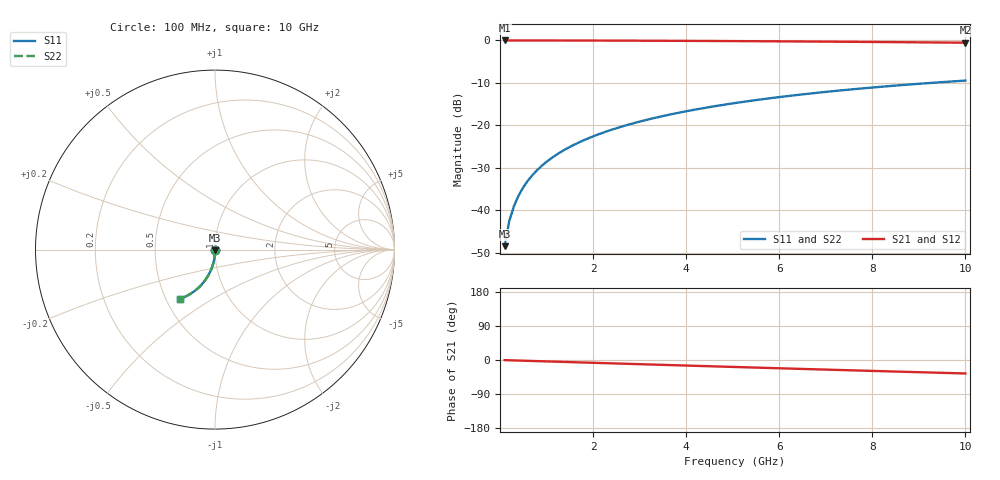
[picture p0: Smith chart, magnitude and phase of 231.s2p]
# Hz S RI R 50.00
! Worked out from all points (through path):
!   100 points, 100 MHz to 10 GHz, reference 50 ohm
!   highest |S21| = -0.01 dB at 100 MHz (marker M1); lowest = -0.5 dB at 10 GHz (marker M2)
!   group delay of S21, straight-line fit = 9.9 ps
!   lowest |S11| = -48.4 dB at 100 MHz (marker M3), VSWR 1.01, Z = 50.1 - j0.373 ohm
!   |S11| at or under -10 dB: start of sweep to 9.266 GHz
!   |S22| runs from -48.4 to -9.5 dB; largest |S21 - S12| = 0
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1e8  0.00065 -0.00373  0.9993 -0.00642  0.9993 -0.00642  0.00065 -0.00373
2e8  0.000578 -0.00745  0.9992 -0.0128  0.9992 -0.0128  0.000578 -0.00745
3e8  0.000456 -0.0112  0.999 -0.0193  0.999 -0.0193  0.000456 -0.0112
4e8  0.000287 -0.0149  0.9988 -0.0257  0.9988 -0.0257  0.000287 -0.0149
5e8  6.93e-05 -0.0186  0.9986 -0.0321  0.9986 -0.0321  6.93e-05 -0.0186
6e8  -0.000196 -0.0223  0.9983 -0.0385  0.9983 -0.0385  -0.000196 -0.0223
7e8  -0.00051 -0.026  0.9979 -0.0449  0.9979 -0.0449  -0.00051 -0.026
8e8  -0.000871 -0.0297  0.9975 -0.0513  0.9975 -0.0513  -0.000871 -0.0297
9e8  -0.00128 -0.0335  0.997 -0.0577  0.997 -0.0577  -0.00128 -0.0335
1.1e9  -0.00224 -0.0408  0.9959 -0.0705  0.9959 -0.0705  -0.00224 -0.0408
1.4e9  -0.00403 -0.0519  0.9938 -0.0896  0.9938 -0.0896  -0.00403 -0.0519
1.8e9  -0.00708 -0.0664  0.9903 -0.115  0.9903 -0.115  -0.00708 -0.0664
2.1e9  -0.00985 -0.0772  0.9871 -0.1338  0.9871 -0.1338  -0.00985 -0.0772
2.5e9  -0.0142 -0.0914  0.9821 -0.1588  0.9821 -0.1588  -0.0142 -0.0914
2.9e9  -0.0192 -0.1053  0.9763 -0.1836  0.9763 -0.1836  -0.0192 -0.1053
3.4e9  -0.0265 -0.1222  0.9679 -0.214  0.9679 -0.214  -0.0265 -0.1222
4.2e9  -0.0402 -0.1482  0.9519 -0.2617  0.9519 -0.2617  -0.0402 -0.1482
5.1e9  -0.0585 -0.1753  0.9304 -0.3132  0.9304 -0.3132  -0.0585 -0.1753
5.9e9  -0.077 -0.1974  0.9086 -0.3571  0.9086 -0.3571  -0.077 -0.1974
6.7e9  -0.0975 -0.2173  0.8843 -0.3988  0.8843 -0.3988  -0.0975 -0.2173
8.4e9  -0.1458 -0.2518  0.8262 -0.4799  0.8262 -0.4799  -0.1458 -0.2518
1e10  -0.1953 -0.2742  0.7652 -0.5464  0.7652 -0.5464  -0.1953 -0.2742
